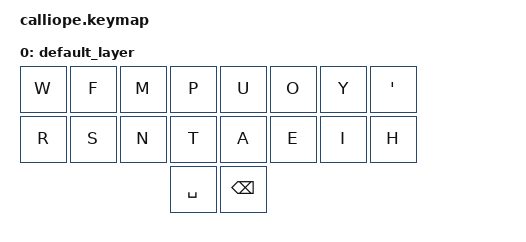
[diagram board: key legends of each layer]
/*
 * Copyright (c) 2022 The ZMK Contributors
 *
 * SPDX-License-Identifier: MIT
 */

#include <behaviors.dtsi>
#include <dt-bindings/zmk/keys.h>

/ {
    keymap {
        compatible = "zmk,keymap";

        default_layer {
            bindings = <
        // ╭─────────────┬─────────────┬─────────────┬─────────────┬─────────────┬─────────────┬─────────────┬─────────────╮
             &kp W         &kp F         &kp M         &kp P         &kp U         &kp O         &kp Y         &kp QUOT
             &kp R         &kp S         &kp N         &kp T         &kp A         &kp E         &kp I         &kp H
        // ╰─────────────┴─────────────╮                                                       ╭─────────────┴─────────────╯
                                                       &kp SPACE     &kp BSPC
        //                              ╰─────────────┴─────────────┴─────────────┴─────────────╯ 
            >;
        };
    };
};
